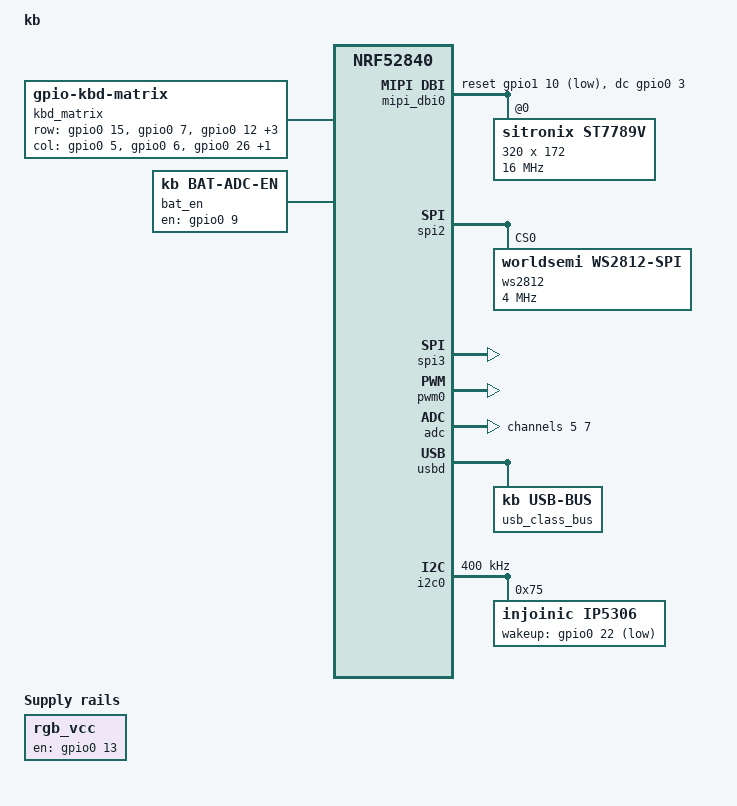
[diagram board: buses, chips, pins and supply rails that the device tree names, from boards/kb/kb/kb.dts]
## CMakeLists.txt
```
cmake_minimum_required(VERSION 3.20.0)
# 自定义板 kb 位于本工程 boards/kb/kb/，需将工程根目录加入 BOARD_ROOT，
# 让 Zephyr 在 find_package 前能找到该板（避免命令行传绝对路径时盘符冒号被拆分）。
list(APPEND BOARD_ROOT ${CMAKE_CURRENT_SOURCE_DIR})
# 自定义设备树 binding（dts/bindings/injoinic,ip5306.yaml）需要 DTS_ROOT
# 才能被 edtlib 找到。
list(APPEND DTS_ROOT ${CMAKE_CURRENT_SOURCE_DIR})
find_package(Zephyr REQUIRED HINTS $ENV{ZEPHYR_BASE})

project(kb)

target_include_directories(app PRIVATE src)

target_sources(app PRIVATE
	src/main.c
	src/keys/keys.c
	src/led/led.c
	src/mode/mode.c
	src/knob/knob.c
	src/hid/hid_keymap.c
	src/ble/ble_hid.c
	src/usb/usb_hid.c
	src/usb/usb_host_cdc.c
	src/power/ip5306.c
	src/power/battery.c
	src/power/bat_adc.c
	src/power/pm.c
	src/time/kb_time.c
	src/lcd/lcd.c
	src/lcd/lcd_font.c
	src/lcd/backlight.c
)
```

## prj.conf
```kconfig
# ============================================================
# 蓝牙小键盘 —— 阶段 1：矩阵按键检测
# 详见 矩阵按键.txt
# ============================================================

# ---- 日志：板子未引出串口，用 SEGGER RTT 输出，无需飞线 ----
# 注意：不能再开 CONFIG_LOG_MODE_MINIMAL —— 它依赖 !LOG_MODE_MINIMAL，
#       会把 LOG_BACKEND_RTT 强制关掉（之前正是如此，导致 Kconfig 告警且 RTT 无输出）。
#       去掉 MINIMAL 后标准日志后端生效，RTT 才能真正看到日志。
CONFIG_LOG=y
CONFIG_LOG_MODE_IMMEDIATE=y
CONFIG_LOG_DEFAULT_LEVEL=3
CONFIG_USE_SEGGER_RTT=y
CONFIG_LOG_BACKEND_RTT=y

# ---- 输入子系统（核心） ----
# 下面两项由设备树自动打开：
#   CONFIG_INPUT_GPIO_KBD_MATRIX  (default y, depends on DT_HAS_GPIO_KBD_MATRIX_ENABLED)
#   CONFIG_INPUT_KEYMAP           (default y, depends on DT_HAS_INPUT_KEYMAP_ENABLED)
# 注意：CONFIG_GPIO 必须显式打开，矩阵驱动不会自动 select 它，
#       否则会报 __device_dts_ord_<gpio0/gpio1> undeclared。
CONFIG_INPUT=y
CONFIG_GPIO=y

# ---- 按键 LED（WS2812 over SPI） ----
# 顶层 menuconfig 必须显式打开；WS2812_STRIP_SPI 在设备树节点使能后默认 y，
# 并会自动 select SPI。
CONFIG_LED_STRIP=y
CONFIG_SPI=y

# 灯带供电开关 RGB_PWR_EN(P0.13)，建模为 fixed regulator
CONFIG_REGULATOR=y
CONFIG_REGULATOR_FIXED=y

# ---- 模式检测（三模开关 SAADC） ----
# CONFIG_ADC_NRFX_SAADC 在设备树使能 &adc 后自动打开；
# 驱动 Kconfig.nrfx 已自动 select ADC_CONFIGURABLE_INPUTS，无需手动开。
CONFIG_ADC=y

# ---- USB HID（三模开关 USB 档，详见 usb 通信.txt） ----
# 新栈（USB_DEVICE_STACK_NEXT）+ HID 类；UDC 驱动由 nrf-usbd 自动提供。
# 板上无 VBUS 检测引脚，软件直接 usbd_enable()。
CONFIG_USB_DEVICE_STACK_NEXT=y
CONFIG_USBD_HID_SUPPORT=y
# ⚠️ UDC 驱动事件线程栈默认仅 512B，处理枚举 + HID 类回调时栈溢出
#    （MPU FAULT / Stack overflow，线程 udc_nrfx），必须加大。
CONFIG_UDC_NRF_THREAD_STACK_SIZE=2048
# ⚠️ UDC 请求缓冲池默认 1024B，主机读描述符请求过 1026/4095 字节会分配
#    失败（Failed to allocate net_buf, ep 0x80 -> Malformed setup packet）。
CONFIG_UDC_BUF_POOL_SIZE=8192
# 上位机控制口（CDC-ACM 虚拟串口，与 HID 组成复合设备；详见 src/usb/usb_host_cdc.c
# 与主机侧 host_cli.py）。类实例在设备树节点使能后由 usbd_register_all_classes
# 自动登记进同一个 usbd 上下文（见 usb_hid.c），设备类码由 usb_hid.c 改成 Misc。
CONFIG_SERIAL=y
CONFIG_UART_LINE_CTRL=y
CONFIG_USBD_CDC_ACM_CLASS=y

# ---- 电源管理（IP5306 I2C） ----
# I2C(TWIM) 驱动在设备树使能 &i2c0 后自动打开
CONFIG_I2C=y

# ---- 低功耗：断电档（档2）用的 CPU System Off（详见 低功耗.txt） ----
# sys_poweroff() -> nrf_power_system_off()（nRF52 SoC 默认支持 HAS_POWEROFF）。
# 档2 = 停 IP5306 保活 + CPU System Off + PMIC 轻载自动待机切断 3V3，
#       之后整机断电，由电源开关重新上电启动。
CONFIG_POWEROFF=y

# ---- BLE HID（蓝牙通信，详见 BLE通信.txt） ----
# 角色：BLE Peripheral + HID over GATT（HOGP），电脑免驱识别为键盘+多媒体设备
CONFIG_BT=y
CONFIG_BT_PERIPHERAL=y
CONFIG_BT_MAX_CONN=1
CONFIG_BT_MAX_PAIRED=1
CONFIG_BT_SMP=y
CONFIG_BT_ATT_TX_COUNT=5
CONFIG_BT_DEVICE_NAME="kb-ble"
# 961 = HID Keyboard（GAP Appearance）
CONFIG_BT_DEVICE_APPEARANCE=961

# HID 服务；报告默认权限要求加密链路（主机配对后才能读写 HID 特征）
CONFIG_BT_HIDS=y
CONFIG_BT_HIDS_MAX_CLIENT_COUNT=1
CONFIG_BT_HIDS_DEFAULT_PERM_RW_ENCRYPT=y
CONFIG_BT_GATT_UUID16_POOL_SIZE=40
CONFIG_BT_GATT_CHRC_POOL_SIZE=20
CONFIG_BT_CONN_CTX=y
CONFIG_BT_DIS=y
CONFIG_BT_DIS_MANUF_NAME=y
CONFIG_BT_DIS_MANUF_NAME_STR="kb"

# 绑定信息持久化：配对成功后写入 Flash(板级 storage 分区)，重连无需再配对。
# settings 后端在 CONFIG_NVS 使能时默认是 SETTINGS_NVS，故需显式开 NVS。
CONFIG_SETTINGS=y
CONFIG_NVS=y
CONFIG_BT_SETTINGS=y
CONFIG_FLASH=y
CONFIG_FLASH_PAGE_LAYOUT=y
CONFIG_FLASH_MAP=y

# 蓝牙协议栈会让系统工作队列变忙，按 Nordic 官方样例加大栈
CONFIG_SYSTEM_WORKQUEUE_STACK_SIZE=2048
CONFIG_MAIN_STACK_SIZE=2048

# ---- LCD 屏幕（ST7789V over SPI3 / MIPI-DBI，详见 lcd 显示.txt） ----
# 顶层 DISPLAY 必须显式打开；ST7789V / MIPI_DBI / MIPI_DBI_SPI 随设备树自动使能
# （CONFIG_ST7789V default y, depends on DT_HAS_SITRONIX_ST7789V_ENABLED）。
# 背光用 nRF PWM（P0 无冲突），PWM 驱动随设备树自动使能。
CONFIG_DISPLAY=y
CONFIG_PWM=y
# 若上板发现红/蓝互换，改为下面这行（驱动按 BGR565 发数据）：
# CONFIG_ST7789V_BGR565=y

# ---- bring-up 验证工具（验证完可关） ----
CONFIG_SHELL=y
CONFIG_SHELL_BACKEND_RTT=y
CONFIG_INPUT_SHELL=y
CONFIG_INPUT_SHELL_KBD_MATRIX_STATE=y
CONFIG_INPUT_EVENT_DUMP=y
```

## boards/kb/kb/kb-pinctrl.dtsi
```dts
/*
 * 板级引脚控制
 *
 * WS2812 灯带（worldsemi,ws2812-spi）挂在 SPI2 上：
 *   MOSI = P0.20 (RGB_DATA)
 *   SCK  = P0.14 (哑引脚，对外不接线)
 *
 * ⚠️ WS2812 是单线协议，只用到 MOSI；但 SPIM 外设的 SCK 若不在 pinctrl 里
 *    分配，就不会产生时钟，自然也就没有 MOSI 波形。因此必须给 SCK 分配一个
 *    空闲引脚。原暂定 P1.10 与屏幕 SCREEN_RES(P1.10) 冲突，已迁移到 P0.14；
 *    若再与后续外设冲突，改这里即可，不影响任何 C 代码。
 * ⚠️ 绝对不要用 P0.00 / P0.01（模块脚 11/13，32.768kHz 晶振 XL1/XL2）。
 *
 * LCD 屏幕（ST7789V，SPI 只写，挂 SPI3，见 lcd 显示.txt）：
 *   MOSI = P0.28 (SCREEN_SDA)
 *   SCK  = P1.13 (SCREEN_SCL)
 *   CS   = P0.02（SPI 控制器 cs-gpios，不在此文件）
 * 背光（PWM）：
 *   PWM0_OUT0 = P1.11 (SCREEN_BLK)
 */

#include <zephyr/dt-bindings/pinctrl/nrf-pinctrl.h>

&pinctrl {
	spi2_default: spi2_default {
		group1 {
			psels = <NRF_PSEL(SPIM_SCK, 0, 14)>,   /* 哑 SCK：P0.14 */
				<NRF_PSEL(SPIM_MOSI, 0, 20)>;  /* RGB_DATA：P0.20 */
		};
	};

	spi2_sleep: spi2_sleep {
		group1 {
			psels = <NRF_PSEL(SPIM_SCK, 0, 14)>,
				<NRF_PSEL(SPIM_MOSI, 0, 20)>;
			low-power-enable;
		};
	};

	/* LCD 屏幕 SPI3：只写（无 MISO），SCK=P1.13 / MOSI=P0.28 */
	spi3_default: spi3_default {
		group1 {
			psels = <NRF_PSEL(SPIM_SCK, 1, 13)>,   /* SCREEN_SCL：P1.13 */
				<NRF_PSEL(SPIM_MOSI, 0, 28)>;  /* SCREEN_SDA：P0.28 */
		};
	};

	spi3_sleep: spi3_sleep {
		group1 {
			psels = <NRF_PSEL(SPIM_SCK, 1, 13)>,
				<NRF_PSEL(SPIM_MOSI, 0, 28)>;
			low-power-enable;
		};
	};

	/* LCD 背光 PWM0：输出 0 = P1.11 (SCREEN_BLK) */
	pwm0_default: pwm0_default {
		group1 {
			psels = <NRF_PSEL(PWM_OUT0, 1, 11)>;
		};
	};

	pwm0_sleep: pwm0_sleep {
		group1 {
			psels = <NRF_PSEL(PWM_OUT0, 1, 11)>;
			low-power-enable;
		};
	};

	/*
	 * IP5306-I2C：SCL=P0.24 / SDA=P1.00（跨 GPIO 端口，nRF TWIM 支持）。
	 * 板上已有 10k 上拉，这里再开内部上拉加强上升沿。
	 */
	i2c0_default: i2c0_default {
		group1 {
			psels = <NRF_PSEL(TWIM_SCL, 0, 24)>,
				<NRF_PSEL(TWIM_SDA, 1, 0)>;
			bias-pull-up;
		};
	};

	i2c0_sleep: i2c0_sleep {
		group1 {
			psels = <NRF_PSEL(TWIM_SCL, 0, 24)>,
				<NRF_PSEL(TWIM_SDA, 1, 0)>;
			low-power-enable;
		};
	};
};
```

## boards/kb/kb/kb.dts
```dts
/dts-v1/;
#include <nordic/nrf52840_qiaa.dtsi>
#include "kb-pinctrl.dtsi"

#include <zephyr/dt-bindings/gpio/gpio.h>
#include <zephyr/dt-bindings/input/input-event-codes.h>
#include <zephyr/dt-bindings/input/keymap.h>
#include <zephyr/dt-bindings/led/led.h>
#include <zephyr/dt-bindings/adc/adc.h>
#include <zephyr/dt-bindings/adc/nrf-saadc.h>
#include <zephyr/dt-bindings/i2c/i2c.h>

/ {
	model = "kb";
	compatible = "kb,kb";

	chosen {
		zephyr,sram = &sram0;
		zephyr,flash = &flash0;
		zephyr,code-partition = &slot0_partition;
		/* LCD 显示设备（ST7789V）：应用层经 display API 直接写屏 */
		zephyr,display = &st7789v;
	};

	/*
	 * WS2812 灯带供电开关：RGB_PWR_EN(P0.13) 高电平使能 RGB_VCC。
	 *
	 * 建模为 fixed regulator 的好处：regulator_enable() 会自动处理
	 * startup-delay-us（上电到数据有效的等待），且带引用计数，
	 * 将来低功耗模块也能安全调用。上电默认断电。
	 */
	rgb_vcc: regulator-rgb-vcc {
		compatible = "regulator-fixed";
		regulator-name = "rgb-vcc";
		enable-gpios = <&gpio0 13 GPIO_ACTIVE_HIGH>;
		startup-delay-us = <1000>;
		regulator-boot-off;
	};

	/*
	 * 6 行 x 4 列 按键矩阵（含 EC11 编码器按键）
	 *
	 * 驱动语义（与直觉相反）：列被驱动（输出），行被读取（输入）。
	 * 硬件每键串联 1 只 1N4148W，方向为「列 -> 行」（阴极在行侧），
	 * 因此：行下拉 + 高电平有效，列驱动为高电平有效。
	 * 详见 矩阵按键.txt
	 */
	kbd_matrix: kbd-matrix {
		compatible = "gpio-kbd-matrix";
		status = "okay";

		/* 行 = 输入（被读取）。顺序必须 ROW0 -> ROW5 */
		row-gpios = <&gpio0 15 (GPIO_PULL_DOWN | GPIO_ACTIVE_HIGH)>, /* ROW0 */
			    <&gpio0  7 (GPIO_PULL_DOWN | GPIO_ACTIVE_HIGH)>, /* ROW1 */
			    <&gpio0 12 (GPIO_PULL_DOWN | GPIO_ACTIVE_HIGH)>, /* ROW2 */
			    <&gpio0  4 (GPIO_PULL_DOWN | GPIO_ACTIVE_HIGH)>, /* ROW3 */
			    <&gpio1  9 (GPIO_PULL_DOWN | GPIO_ACTIVE_HIGH)>, /* ROW4 */
			    <&gpio0  8 (GPIO_PULL_DOWN | GPIO_ACTIVE_HIGH)>; /* ROW5 */

		/* 列 = 输出（被驱动）。顺序必须 COL0 -> COL3 */
		col-gpios = <&gpio0  5 GPIO_ACTIVE_HIGH>,  /* COL0 */
			    <&gpio0  6 GPIO_ACTIVE_HIGH>,  /* COL1 */
			    <&gpio0 26 GPIO_ACTIVE_HIGH>,  /* COL2 */
			    <&gpio0 30 GPIO_ACTIVE_HIGH>;  /* COL3 */

		/* 每键都有隔离二极管：未选中列直接驱动为无效电平，无需稳定延时 */
		col-drive-inactive;
		settle-time-us = <0>;

		/* 有隔离二极管 => 物理上不会鬼键，关掉检测以支持任意多键同按 */
		no-ghostkey-check;

		/* 稀疏矩阵掩码，每列一个行位掩码（bit n = ROWn 是否存在）：
		 *   COL0: ROW1,2,3,4,5 -> 0b00111110 = 0x3E
		 *   COL1: ROW1,2,3,4,5 -> 0b00111110 = 0x3E
		 *   COL2: ROW1,2,3,4   -> 0b00011110 = 0x1E
		 *   COL3: ROW0,1,3,5   -> 0b00101011 = 0x2B
		 * 置位总数 18 = 17 个机械轴 + 1 个 EC11 编码器按键
		 */
		actual-key-mask = <0x3E 0x3E 0x1E 0x2B>;

		/* 空闲时行 GPIO 挂中断，按下即唤醒；松手 100ms 后退回中断态 */
		idle-mode = "interrupt";
		poll-period-ms = <5>;
		poll-timeout-ms = <100>;
		debounce-down-ms = <10>;
		debounce-up-ms = <20>;

		/* 行列坐标 -> 标准键值。必须是 kbd-matrix 的子节点 */
		kbd_keymap: keymap {
			compatible = "input-keymap";
			row-size = <6>;
			col-size = <4>;
			keymap = <
				MATRIX_KEY(0, 3, INPUT_KEY_MUTE)
				MATRIX_KEY(1, 0, INPUT_KEY_NUMLOCK)
				MATRIX_KEY(1, 1, INPUT_KEY_KPSLASH)
				MATRIX_KEY(1, 2, INPUT_KEY_KPASTERISK)
				MATRIX_KEY(1, 3, INPUT_KEY_KPMINUS)
				MATRIX_KEY(2, 0, INPUT_KEY_KP7)
				MATRIX_KEY(2, 1, INPUT_KEY_KP8)
				MATRIX_KEY(2, 2, INPUT_KEY_KP9)
				MATRIX_KEY(3, 0, INPUT_KEY_KP4)
				MATRIX_KEY(3, 1, INPUT_KEY_KP5)
				MATRIX_KEY(3, 2, INPUT_KEY_KP6)
				MATRIX_KEY(3, 3, INPUT_KEY_KPPLUS)
				MATRIX_KEY(4, 0, INPUT_KEY_KP1)
				MATRIX_KEY(4, 1, INPUT_KEY_KP2)
				MATRIX_KEY(4, 2, INPUT_KEY_KP3)
				MATRIX_KEY(5, 0, INPUT_KEY_KP0)
				MATRIX_KEY(5, 1, INPUT_KEY_KPDOT)
				MATRIX_KEY(5, 3, INPUT_KEY_KPENTER)
			>;
		};
	};
};

/* SoC dtsi 默认把 GPIO 控制器置为 disabled，这里显式使能。
 * 否则 CONFIG_GPIO_NRFX 不会链接，矩阵驱动找不到 gpio0/gpio1 设备对象。 */
&gpio0 {
	status = "okay";
};

&gpio1 {
	status = "okay";
};

/* GPIO 中断（矩阵 interrupt 空闲模式）依赖 GPIOTE 外设，SoC dtsi 默认 disabled */
&gpiote0 {
	status = "okay";
};

/*
 * 旋钮 A 相用到 P0.10，但 nRF52840 的 P0.9/P0.10 默认（被配置）走 NFC 天线功能，
 * 会被硬件路由到 NFC 外设、恒为低，无法当 GPIO 用。必须把 NFC 脚改回 GPIO。
 * 改后构建产物会带上 UICR.NFCPINS=1 的设置，由烧录工具写入；烧录后做一次
 * 断电/复位即可生效。
 */
&uicr {
	nfct-pins-as-gpios;
};

/*
 * WS2812 灯带（SPI 方式驱动，17 颗）
 *
 * 时序取值 4MHz + one=0x70 / zero=0x40 是本 SDK 内 Nordic 官方板
 * (actinius_icarus_som_dk) 的在树用法：一位 250ns，'1' 高 750ns、
 * '0' 高 250ns，正好落在驱动文档给的「'0' 200~500ns / '1' >=550ns」窗口内。
 *
 * ⚠️ WS2812 是单线协议只用到 MOSI，但 SPIM 外设必须有 SCK 才会出时钟，
 *    所以 pinctrl 里给 SCK 分配了空闲哑引脚 P0.14（对外不接线）。
 * ⚠️ 屏幕 SPI 用 spi3，避开 spi2。
 */
&spi2 {
	compatible = "nordic,nrf-spim";
	status = "okay";
	pinctrl-0 = <&spi2_default>;
	pinctrl-1 = <&spi2_sleep>;
	pinctrl-names = "default", "sleep";

	ws2812: ws2812@0 {
		compatible = "worldsemi,ws2812-spi";
		reg = <0>;                     /* SPI 绑定要求的格式，灯带无片选 */
		spi-max-frequency = <4000000>;
		chain-length = <17>;           /* 18 个键位 - EC11 旋钮按键无灯 */
		spi-one-frame = <0x70>;
		spi-zero-frame = <0x40>;
		color-mapping = <LED_COLOR_ID_GREEN
				 LED_COLOR_ID_RED
				 LED_COLOR_ID_BLUE>;   /* WS2812 线上顺序是 GRB */
		reset-delay = <50>;
	};
};

/*
 * LCD 屏幕（ST7789V，320x172，SPI 只写）挂 SPI3（详见 lcd 显示.txt）
 *   SCK = P1.13 (SCREEN_SCL) / MOSI = P0.28 (SCREEN_SDA)
 *   CS  = P0.02，由 SPI 控制器 cs-gpios 管理（低有效，硬接 LCD 的 CS）
 *   DC  = P0.03 / RES = P1.10 / 背光 BLK = P1.11（PWM0）
 */
&spi3 {
	status = "okay";
	pinctrl-0 = <&spi3_default>;
	pinctrl-1 = <&spi3_sleep>;
	pinctrl-names = "default", "sleep";
	cs-gpios = <&gpio0 2 GPIO_ACTIVE_LOW>;   /* SCREEN_CS：P0.02 */
};

/* LCD 背光：PWM0 OUT0 = P1.11 (SCREEN_BLK)，应用层按亮度百分比调占空比 */
&pwm0 {
	status = "okay";
	pinctrl-0 = <&pwm0_default>;
	pinctrl-1 = <&pwm0_sleep>;
	pinctrl-names = "default", "sleep";
};

/ {
	/* mipi-dbi + ST7789V 显示设备（MIPI-DBI-SPI 走 spi3，详见 lcd 显示.txt）。
	 * 参数参考 SDK shields/st7789v_generic 的 320x170 屏，上板按
	 * lcd 显示.txt【8】标定 x/y-offset 与 mdac。 */
	mipi_dbi0: mipi-dbi {
		compatible = "zephyr,mipi-dbi-spi";
		spi-dev = <&spi3>;
		dc-gpios = <&gpio0 3 GPIO_ACTIVE_HIGH>;      /* SCREEN_DC：P0.03 */
		reset-gpios = <&gpio1 10 GPIO_ACTIVE_LOW>;   /* SCREEN_RES：P1.10 */
		write-only;

		#address-cells = <1>;
		#size-cells = <0>;

		st7789v: st7789v@0 {
			compatible = "sitronix,st7789v";
			reg = <0>;
			mipi-max-frequency = <16000000>;
			width = <320>;
			height = <172>;
			x-offset = <0>;
			y-offset = <35>;      /* 待上板实测微调（见 lcd 显示.txt 8.2） */
			vcom = <0x2b>;
			gctrl = <0x35>;
			vrhs = <0x0f>;
			vdvs = <0x20>;
			mdac = <0xA0>;        /* 实测:0x60 需整体转180°,取反 MY|MX=0xA0 后文字正立(0xE0 会整幅左右镜像,勿用) */
			gamma = <0x01>;
			colmod = <0x55>;      /* 16bit 65K */
			lcm = <0x2c>;
			porch-param = [0c 0c 00 33 33];
			cmd2en-param = [5a 69 02 01];
			pwctrl1-param = [52 a1];
			pvgam-param = [D0 00 02 07 0B 1A 31 54 40 29 12 12 12 17];
			nvgam-param = [D0 00 02 07 05 15 2D 44 44 1C 18 16 1C 1D];
			ram-param = [00 F8];
			rgb-param = [CD 08 14];
			mipi-mode = "MIPI_DBI_MODE_SPI_4WIRE";
		};
	};
};

/*
 * 三模开关检测：MODE(P0.29) = SAADC AIN5，单端。
 *
 * 量程：内部 0.6V 参考 ÷ 增益 1/6 = 3.6V，覆盖 BLE 档的 3.3V 且留 300mV 余量。
 * 不用 VDD/4 参考：VDD 会随电池从 4.2V 掉到 3.3V，参考本身会漂。
 *
 * ⚠️ 通道子节点【必须命名为 channel】，否则 Zephyr 的 ADC API 宏取不到数据
 *    （adc-controller.yaml 的 child-binding 要求）。
 * ⚠️ input-positive 必须用 DT 头文件的 <NRF_SAADC_AIN5>（值为 5）。
 *    nRF HAL 里的 NRF_SAADC_INPUT_AIN5 是 6（HAL 中 0 表示断开，AIN0 从 1 起），
 *    两者差 1。若误写 6 会采到 AIN6 = P0.30 = COL3，现象是模式读数乱跳。
 *    只写 input-positive（不写 input-negative）即为 Zephyr 单端模式，
 *    负值由驱动钳到 0，不会触发驱动内部的 /2 修正。
 */
&adc {
	status = "okay";
	#address-cells = <1>;
	#size-cells = <0>;

	channel@5 {
		reg = <5>;
		zephyr,input-positive = <NRF_SAADC_AIN5>;   /* P0.29 = MODE */
		zephyr,reference = "ADC_REF_INTERNAL";      /* 内部 0.6V */
		zephyr,gain = "ADC_GAIN_1_6";               /* 满量程 3.6V */
		zephyr,acquisition-time = <ADC_ACQ_TIME(ADC_ACQ_TIME_MICROSECONDS, 10)>;
		zephyr,resolution = <12>;
	};

	/*
	 * 电池电压采样：BAT_ADC(P0.31) = AIN7（详见 电池电压测量.txt）
	 * 电路：VBAT → R6(100k) → 节点(C29 100nF) → R8(100k) → Q1(NMOS) → GND
	 * 节点电压 = VBAT/2（1.5~2.1V），满量程 3.6V 覆盖。
	 * ⚠️ acquisition-time 40µs：分压源阻抗 ≈50kΩ 较高，采样窗口需加长。
	 */
	channel@7 {
		reg = <7>;
		zephyr,input-positive = <NRF_SAADC_AIN7>;   /* P0.31 = BAT_ADC */
		zephyr,reference = "ADC_REF_INTERNAL";      /* 内部 0.6V */
		zephyr,gain = "ADC_GAIN_1_6";               /* 满量程 3.6V */
		zephyr,acquisition-time = <ADC_ACQ_TIME(ADC_ACQ_TIME_MICROSECONDS, 40)>;
		zephyr,resolution = <12>;
	};
};

/*
 * USB HID（三模开关 USB 档，详见 usb 通信.txt）
 *
 * nRF52840 内置 USB Full-Speed 设备控制器，原理图 D-/D+ 经 R23/R24(0Ω)
 * + USBLC6-2SC6 接入模块脚 29/31。板上无 VBUS 检测引脚，软件直接
 * usbd_enable()，插入 USB 线后由主机枚举。
 * hid_kbd 节点：zephyr,hid-device 绑定；报告描述符由 src/usb/usb_hid.c
 * 调 hid_device_register() 传入（与 BLE 共用 hid_keymap.c 里那份）。
 */
&usbd {
	status = "okay";

	/*
	 * 上位机控制口：CDC-ACM 虚拟串口（与 HID 键盘接口组成复合设备）。
	 * 主机侧 host_cli.py 通过该 COM 口下 AA55 帧 + protobuf 子集协议
	 * （hello/time_sync/theme_rgb，详见 src/usb/usb_host_cdc.c）。
	 *
	 * 为什么包一层 kb,usb-bus：nordic,nrf-usbd 绑定不带 usb bus 定义，
	 * 而 zephyr,cdc-acm-uart 有 on-bus: usb 断言，不能直接挂 &usbd。
	 * 包装节点只提供 bus: usb（绑定 dts/bindings/kb,usb-bus.yaml），
	 * 不映射驱动；CDC 类实例仍由 usb_hid.c 的 usbd_register_all_classes()
	 * 统一登记到同一个 usb_ctx 上下文。
	 */
	usb_class_bus: usb-class-bus {
		compatible = "kb,usb-bus";

		cdc_acm_uart0: cdc-acm-uart0 {
			compatible = "zephyr,cdc-acm-uart";
			label = "CDC0";
			tx-fifo-size = <512>;
			rx-fifo-size = <512>;
		};
	};
};

/ {
	hid_kbd: hid_kbd {
		compatible = "zephyr,hid-device";
		label = "HID0";
		protocol-code = "keyboard";      /* 支持 Boot 协议 */
		/* ⚠️ 以下两个值必须是「线上总包长」（含 Report ID 字节），
		 * 驱动据此分配端点缓冲，缺一个字节都会导致报文被拒：
		 *   IN  = Report ID(1) + 键盘 8 字节 = 9
		 *   OUT = Report ID(1) + LED 1 字节  = 2 */
		in-report-size = <9>;
		in-polling-period-us = <1000>;   /* 1ms 轮询 */
		out-report-size = <2>;           /* NumLock LED 输出报告走 OUT 管道 */
		out-polling-period-us = <1000>;
	};
};

/* IP5306-I2C 电源管理芯片（SDA=P1.00 / SCL=P0.24，板载 10k 上拉） */
&i2c0 {
	status = "okay";
	pinctrl-0 = <&i2c0_default>;
	pinctrl-1 = <&i2c0_sleep>;
	pinctrl-names = "default", "sleep";
	clock-frequency = <I2C_BITRATE_FAST>;   /* 400 kHz */

	ip5306: power-manager@75 {
		compatible = "injoinic,ip5306";
		reg = <0x75>;
		/* KEY 通常低有效（内部上拉，按下=拉低）；待 P08 实测确认极性 */
		wakeup-gpios = <&gpio0 22 GPIO_ACTIVE_LOW>;
		status = "okay";
	};
};

&flash0 {
	partitions {
		compatible = "fixed-partitions";
		#address-cells = <1>;
		#size-cells = <1>;

		boot_partition: partition@0 {
			label = "mcuboot";
			reg = <0x00000000 DT_SIZE_K(48)>;
		};

		slot0_partition: partition@c000 {
			label = "image-0";
			reg = <0x0000c000 DT_SIZE_K(472)>;
		};

		slot1_partition: partition@82000 {
			label = "image-1";
			reg = <0x00082000 DT_SIZE_K(472)>;
		};

		storage_partition: partition@f8000 {
			label = "storage";
			reg = <0x000f8000 DT_SIZE_K(32)>;
		};
	};
};

/* 灯带别名：应用层用 DT_ALIAS(led_strip) 取设备，不硬编码节点路径 */
/ {
	aliases {
		led-strip = &ws2812;
	};

	/* 电池采样 MOS 使能（NMOS 低边，高电平导通；详见 电池电压测量.txt）
	 * 自定义 binding：dts/bindings/kb,bat-adc-en.yaml（phandle-array 必须有
	 * binding 声明，DT 宏才会生成——zephyr_user 无 compatible 走不通） */
	bat_en: bat-adc-en {
		compatible = "kb,bat-adc-en";
		en-gpios = <&gpio0 9 GPIO_ACTIVE_HIGH>;
	};
};
```

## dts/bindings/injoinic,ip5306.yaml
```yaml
# SPDX-License-Identifier: Apache-2.0
description: |
  Injoinic IP5306 power management IC (custom I2C variant, eSOP8).

compatible: "injoinic,ip5306"

include: i2c-device.yaml

properties:
  wakeup-gpios:
    type: phandle-array
    description: |
      GPIO connected to the IP5306 KEY pin, used to emit a keepalive / wake
      pulse (short press) so the PMIC does not enter light-load standby.
      The active level is set by the GPIO flag (default low-active).
```

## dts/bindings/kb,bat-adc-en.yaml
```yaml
# Copyright (c) 2026 kb project
# SPDX-License-Identifier: Apache-2.0

description: >
  Battery ADC sampling enable gate. Drives the NMOS low-side switch that
  connects the VBAT divider (R6/R8 100k/100k) to ground during sampling.
  See 电池电压测量.txt.

compatible: "kb,bat-adc-en"

properties:
  en-gpios:
    type: phandle-array
    required: true
    description: GPIO driving the NMOS gate (active high = sampling on).
```

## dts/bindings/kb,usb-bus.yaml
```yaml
# Copyright (c) 2026 kb project
# SPDX-License-Identifier: Apache-2.0

description: >
  USB bus wrapper for USB device class nodes on the nRF52840 USB controller.

  The nordic,nrf-usbd binding does not declare a `bus`, so a class node that
  requires `on-bus: usb` (e.g. zephyr,cdc-acm-uart) can not be a direct child
  of &usbd. This wrapper only declares `bus: usb` and maps to no driver; the
  class instance is still registered into the single USBD context by
  usbd_register_all_classes().

compatible: "kb,usb-bus"

bus: usb

properties: {}
```

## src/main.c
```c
#include <zephyr/kernel.h>
#include <zephyr/logging/log.h>

#include "keys/keys.h"
#include "led/led.h"
#include "mode/mode.h"
#include "knob/knob.h"
#include "ble/ble_hid.h"
#include "usb/usb_hid.h"
#include "usb/usb_host_cdc.h"
#include "power/ip5306.h"
#include "power/bat_adc.h"
#include "power/pm.h"
#include "time/kb_time.h"
#include "lcd/lcd.h"

LOG_MODULE_REGISTER(app, LOG_LEVEL_INF);

int main(void)
{
	int err;

	LOG_INF("=== 蓝牙小键盘启动（矩阵按键 + LED + 模式检测 + 旋钮 + BLE HID） ===");

	err = keys_init();
	if (err) {
		LOG_ERR("按键模块初始化失败: %d", err);
		return err;
	}

	err = kb_led_init();
	if (err) {
		LOG_ERR("按键 LED 模块初始化失败: %d", err);
		return err;
	}

	err = kb_mode_init();
	if (err) {
		LOG_ERR("模式检测模块初始化失败: %d", err);
		return err;
	}

	err = kb_knob_init();
	if (err) {
		LOG_ERR("旋钮模块初始化失败: %d", err);
		return err;
	}

	/*
	 * BLE HID：注册 HIDS 服务并启动蓝牙协议栈。
	 * 必须在 kb_mode_init() 之后：初始化时要读一次当前模式，
	 * 上电就在 BLE 档的话直接开始广播。
	 */
	err = kb_ble_hid_init();
	if (err) {
		LOG_ERR("BLE HID 模块初始化失败: %d", err);
		return err;
	}

	/*
	 * USB HID：USB 档插入后由主机枚举，按键仅 USB 档发出。
	 * 依赖 kb_mode_init()（读模式门控）与公共 HID 层，无严格顺序要求。
	 */
	err = kb_usb_hid_init();
	if (err) {
		LOG_ERR("USB HID 模块初始化失败: %d", err);
		return err;
	}

	/* 上位机控制通道（CDC-ACM 虚拟串口）：需在 usb_hid_init 之后，
	 * 依赖它已完成 usbd_register_all_classes 把 CDC 类登记进同一上下文。 */
	err = kb_usb_host_cdc_init();
	if (err) {
		LOG_ERR("上位机 CDC 通道初始化失败: %d", err);
		return err;
	}

	err = ip5306_init();
	if (err) {
		LOG_ERR("电源管理(IP5306)初始化失败: %d", err);
		return err;
	}

	/* 电池电压采样：EN=P0.09、ADC=AIN7，专用线程周期测量（见 电池电压测量.txt） */
	err = kb_bat_adc_init();
	if (err) {
		LOG_ERR("电池电压采样模块初始化失败: %d", err);
		return err;
	}

	/* 软件时钟 + LCD 屏幕（详见 lcd 显示.txt）：
	 * LCD 在最后初始化，保证模式/电源/旋钮等先就绪（其专用线程会再等 150ms）。 */
	err = kb_time_init();
	if (err) {
		LOG_ERR("软件时钟初始化失败: %d", err);
		return err;
	}

	err = kb_lcd_init();
	if (err) {
		LOG_ERR("LCD 屏幕初始化失败: %d", err);
		return err;
	}

	/* 低功耗状态机：必须放所有模块就绪之后（订阅按键/旋钮/模式活动源） */
	err = kb_pm_init();
	if (err) {
		LOG_ERR("低功耗模块初始化失败: %d", err);
		return err;
	}

	LOG_INF("当前模式: %s", kb_mode_name(kb_mode_get()));
	LOG_INF("等待按键事件...");

	return 0;
}
```
